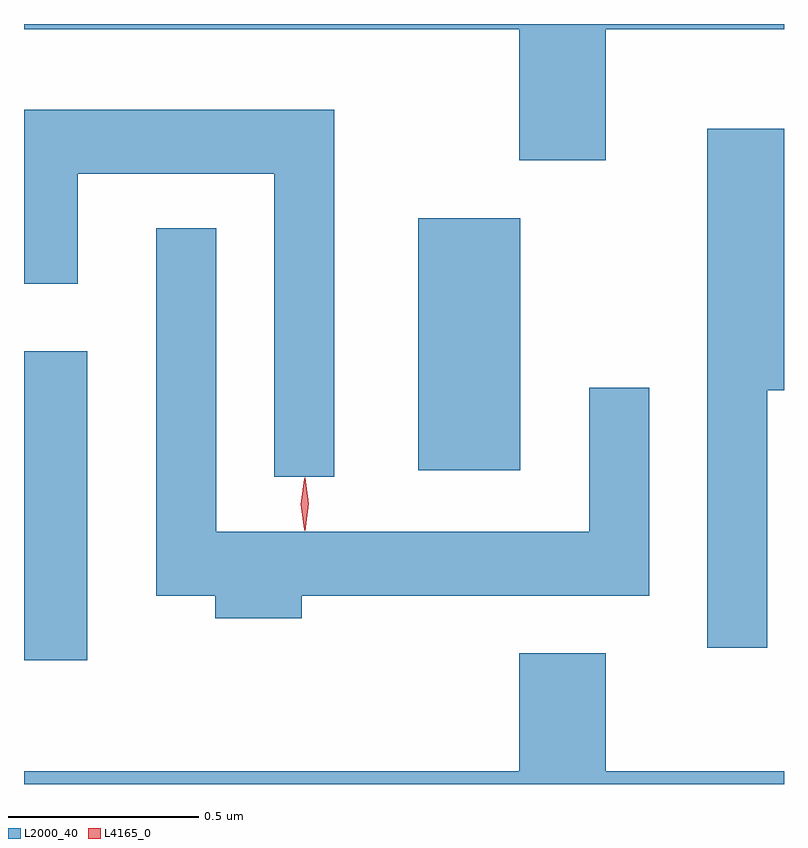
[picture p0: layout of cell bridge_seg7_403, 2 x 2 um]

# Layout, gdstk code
import gdstk
lib = gdstk.Library(unit=1e-6, precision=1e-09)
def R(c, l, rs):  # rectangles x0, y0, x1, y1
    for r in rs: c.add(gdstk.rectangle(r[:2], r[2:], *l))
def P(c, l, *ps):  # polygons
    for p in ps: c.add(gdstk.Polygon(p, *l))
L2000_40 = (2000, 40)
L4165_0 = (4165, 0)

bridge_seg7_403 = lib.new_cell('bridge_seg7_403')
R(bridge_seg7_403, L2000_40, [(1138.478,1739.296,1138.644,1740.109), (1139.516,1739.796,1139.784,1740.459)])
P(bridge_seg7_403, L2000_40, [(1140.009,1740.956),(1140.478,1740.956),(1140.478,1740.97),(1138.478,1740.97),(1138.478,1740.956),(1139.781,1740.956),(1139.781,1740.611),(1140.009,1740.611)],
  [(1139.294,1740.744),(1138.478,1740.744),(1138.478,1740.286),(1138.619,1740.286),(1138.619,1740.576),(1139.136,1740.576),(1139.136,1739.778),(1139.294,1739.778)],
  [(1140.434,1740.006),(1140.478,1740.006),(1140.478,1740.694),(1140.276,1740.694),(1140.276,1739.328),(1140.434,1739.328)],
  [(1139.209,1739.466),(1140.124,1739.466),(1140.124,1740.013),(1139.966,1740.013),(1139.966,1739.634),(1138.984,1739.634),(1138.984,1740.433),(1138.826,1740.433),(1138.826,1739.466),(1138.981,1739.466),(1138.981,1739.406),(1139.209,1739.406)],
  [(1140.478,1739.004),(1140.009,1739.004),(1140.009,1739.314),(1139.781,1739.314),(1139.781,1739.004),(1138.478,1739.004),(1138.478,1738.97),(1140.478,1738.97)])
P(bridge_seg7_403, L4165_0, [(1139.217,1739.637),(1139.217,1739.637),(1139.207,1739.707),(1139.217,1739.776),(1139.217,1739.776),(1139.218,1739.776),(1139.227,1739.707),(1139.218,1739.637)],
  [(1139.216,1739.639),(1139.215,1739.64),(1139.206,1739.706),(1139.215,1739.772),(1139.216,1739.773),(1139.216,1739.772),(1139.226,1739.706),(1139.216,1739.64)])

lib.write_gds('bridge_seg7_403.gds')
